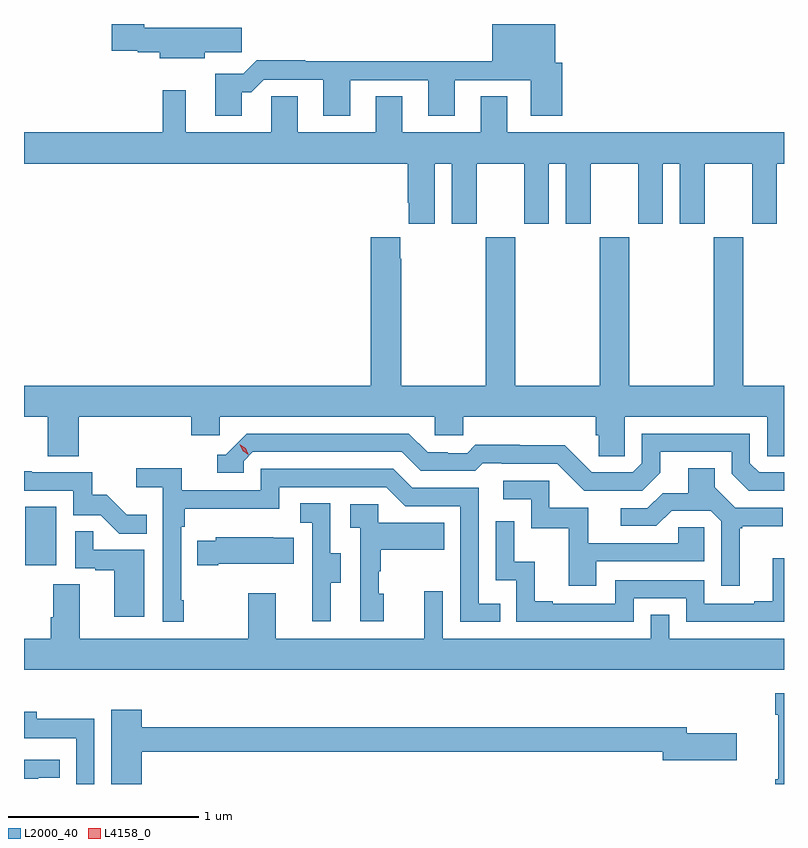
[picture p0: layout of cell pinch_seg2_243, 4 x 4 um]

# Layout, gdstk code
import gdstk
lib = gdstk.Library(unit=1e-6, precision=1e-09)
def R(c, l, rs):  # rectangles x0, y0, x1, y1
    for r in rs: c.add(gdstk.rectangle(r[:2], r[2:], *l))
def P(c, l, *ps):  # polygons
    for p in ps: c.add(gdstk.Polygon(p, *l))
L2000_40 = (2000, 40)
L4158_0 = (4158, 0)

pinch_seg2_243 = lib.new_cell('pinch_seg2_243')
R(pinch_seg2_243, L2000_40, [(938.324,654.846,938.488,655.153)])
P(pinch_seg2_243, L2000_40, [(939.268,657.547),(939.463,657.547),(939.463,657.676),(938.95,657.676),(938.95,657.695),(938.78,657.695),(938.78,657.554),(938.916,657.554),(938.916,657.547),(939.032,657.547),(939.032,657.515),(939.268,657.515)],
  [(939.463,657.335),(939.512,657.335),(939.579,657.402),(939.893,657.402),(939.893,657.213),(940.033,657.213),(940.033,657.399),(940.445,657.399),(940.445,657.213),(940.585,657.213),(940.585,657.399),(940.985,657.399),(940.985,657.213),(941.15,657.213),(941.15,657.492),(941.113,657.492),(941.113,657.695),(940.781,657.695),(940.781,657.5),(939.797,657.5),(939.797,657.503),(939.542,657.503),(939.472,657.433),(939.323,657.433),(939.323,657.213),(939.463,657.213)],
  [(940.48,656.96),(940.568,656.96),(940.568,656.643),(940.699,656.643),(940.699,656.96),(940.949,656.96),(940.949,656.643),(941.08,656.643),(941.08,656.96),(941.168,656.96),(941.168,656.643),(941.299,656.643),(941.299,656.96),(941.549,656.96),(941.549,656.643),(941.68,656.643),(941.68,656.96),(941.768,656.96),(941.768,656.643),(941.899,656.643),(941.899,656.96),(942.149,656.96),(942.149,656.643),(942.28,656.643),(942.28,656.96),(942.317,656.96),(942.317,657.124),(940.861,657.124),(940.861,657.314),(940.721,657.314),(940.721,657.124),(940.309,657.124),(940.309,657.314),(940.169,657.314),(940.169,657.124),(939.757,657.124),(939.757,657.314),(939.618,657.314),(939.618,657.124),(939.169,657.124),(939.169,657.346),(939.048,657.346),(939.048,657.124),(938.317,657.124),(938.317,656.96),(940.337,656.96),(940.337,656.755),(940.343,656.755),(940.343,656.643),(940.48,656.643)],
  [(938.606,655.628),(939.197,655.628),(939.197,655.53),(939.348,655.53),(939.348,655.628),(940.479,655.628),(940.479,655.53),(940.629,655.53),(940.629,655.628),(941.327,655.628),(941.327,655.53),(941.341,655.53),(941.341,655.42),(941.478,655.42),(941.478,655.628),(942.228,655.628),(942.228,655.42),(942.317,655.42),(942.317,655.792),(942.102,655.792),(942.102,656.572),(941.947,656.572),(941.947,655.792),(941.502,655.792),(941.502,656.572),(941.347,656.572),(941.347,655.792),(940.902,655.792),(940.902,656.572),(940.747,656.572),(940.747,655.792),(940.302,655.792),(940.302,656.459),(940.297,656.459),(940.297,656.572),(940.142,656.572),(940.142,655.792),(938.317,655.792),(938.317,655.628),(938.441,655.628),(938.441,655.42),(938.606,655.42)],
  [(941.665,655.333),(941.665,655.443),(942.042,655.443),(942.042,655.329),(942.132,655.239),(942.317,655.239),(942.317,655.335),(942.186,655.335),(942.138,655.383),(942.138,655.539),(941.568,655.539),(941.568,655.383),(941.52,655.335),(941.304,655.335),(941.162,655.477),(940.926,655.477),(940.926,655.48),(940.693,655.48),(940.651,655.437),(940.548,655.437),(940.548,655.44),(940.441,655.44),(940.342,655.539),(939.489,655.539),(939.378,655.428),(939.335,655.428),(939.335,655.332),(939.474,655.332),(939.474,655.395),(939.522,655.443),(940.305,655.443),(940.404,655.344),(940.693,655.344),(940.732,655.383),(940.831,655.383),(940.831,655.38),(941.124,655.38),(941.265,655.239),(941.571,655.239)],
  [(942.085,655.041),(942.097,655.041),(942.097,655.052),(942.31,655.052),(942.31,655.149),(942.06,655.149),(941.953,655.256),(941.953,655.358),(941.813,655.358),(941.813,655.226),(941.678,655.226),(941.598,655.146),(941.457,655.146),(941.457,655.053),(941.644,655.053),(941.725,655.134),(941.931,655.134),(941.988,655.077),(941.988,654.738),(942.085,654.738)],
  [(939.157,654.661),(939.144,654.661),(939.144,655.049),(939.164,655.049),(939.164,655.145),(939.66,655.145),(939.66,655.257),(940.224,655.257),(940.323,655.158),(940.614,655.158),(940.614,654.549),(940.823,654.549),(940.823,654.645),(940.71,654.645),(940.71,655.254),(940.36,655.254),(940.261,655.353),(939.564,655.353),(939.564,655.242),(939.146,655.242),(939.146,655.358),(938.907,655.358),(938.907,655.256),(939.048,655.256),(939.048,654.549),(939.157,654.549)],
  [(938.963,655.111),(938.859,655.111),(938.752,655.218),(938.676,655.218),(938.676,655.335),(938.357,655.335),(938.357,655.34),(938.317,655.34),(938.317,655.239),(938.577,655.239),(938.577,655.11),(938.721,655.11),(938.819,655.012),(938.963,655.012)],
  [(941.329,654.867),(941.898,654.867),(941.898,655.047),(941.761,655.047),(941.761,654.963),(941.287,654.963),(941.287,655.149),(941.082,655.149),(941.082,655.29),(940.839,655.29),(940.839,655.194),(940.986,655.194),(940.986,655.041),(941.185,655.041),(941.185,654.738),(941.329,654.738)],
  [(939.931,654.754),(939.985,654.754),(939.985,654.909),(939.93,654.909),(939.93,655.172),(939.771,655.172),(939.771,655.069),(939.834,655.069),(939.834,654.765),(939.833,654.765),(939.833,654.552),(939.931,654.552)],
  [(940.21,654.696),(940.185,654.696),(940.185,654.815),(940.195,654.815),(940.195,654.929),(940.529,654.929),(940.529,655.069),(940.182,655.069),(940.182,655.167),(940.035,655.167),(940.035,655.043),(940.086,655.043),(940.086,654.552),(940.21,654.552)],
  [(941.526,654.672),(941.802,654.672),(941.802,654.549),(942.317,654.549),(942.317,654.883),(942.257,654.883),(942.257,654.658),(942.161,654.658),(942.161,654.645),(941.898,654.645),(941.898,654.768),(941.43,654.768),(941.43,654.645),(941.101,654.645),(941.101,654.658),(941.006,654.658),(941.006,654.866),(940.896,654.866),(940.896,655.078),(940.8,655.078),(940.8,654.768),(940.908,654.768),(940.908,654.549),(941.526,654.549)],
  [(938.95,654.927),(938.681,654.927),(938.681,655.025),(938.586,655.025),(938.586,654.831),(938.693,654.831),(938.693,654.819),(938.792,654.819),(938.792,654.576),(938.95,654.576)],
  [(939.34,654.854),(939.737,654.854),(939.737,654.991),(939.629,654.991),(939.629,654.994),(939.327,654.994),(939.327,654.976),(939.229,654.976),(939.229,654.847),(939.34,654.847)],
  [(942.317,654.46),(941.712,654.46),(941.712,654.587),(941.616,654.587),(941.616,654.46),(940.521,654.46),(940.521,654.709),(940.424,654.709),(940.424,654.46),(939.643,654.46),(939.643,654.7),(939.496,654.7),(939.496,654.46),(938.611,654.46),(938.611,654.746),(938.471,654.746),(938.471,654.572),(938.459,654.572),(938.459,654.46),(938.317,654.46),(938.317,654.296),(942.317,654.296)],
  [(942.317,654.172),(942.27,654.172),(942.27,654.059),(942.287,654.059),(942.287,653.719),(942.27,653.719),(942.27,653.695),(942.317,653.695)],
  [(938.938,653.866),(941.678,653.866),(941.678,653.819),(942.067,653.819),(942.067,653.961),(941.806,653.961),(941.806,653.995),(938.938,653.995),(938.938,654.085),(938.777,654.085),(938.777,653.695),(938.938,653.695)],
  [(938.688,654.038),(938.383,654.038),(938.383,654.076),(938.317,654.076),(938.317,653.937),(938.592,653.937),(938.592,653.695),(938.688,653.695)],
  [(938.393,653.727),(938.506,653.727),(938.506,653.823),(938.317,653.823),(938.317,653.722),(938.393,653.722)])
P(pinch_seg2_243, L4158_0, [(939.498,655.429),(939.468,655.45),(939.453,655.482),(939.453,655.483),(939.453,655.483),(939.483,655.462),(939.498,655.43),(939.498,655.429)])

lib.write_gds('pinch_seg2_243.gds')
